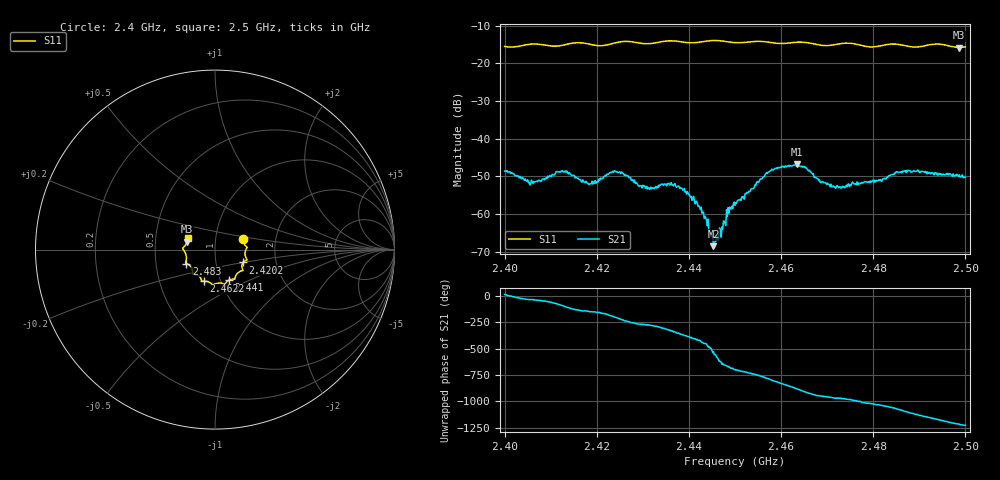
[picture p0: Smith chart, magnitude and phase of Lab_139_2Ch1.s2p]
# Hz S RI R 50
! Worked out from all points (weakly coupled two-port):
!   601 points, 2.4 GHz to 2.5 GHz, reference 50 ohm
!   highest |S21| = -46.88 dB at 2.4635 GHz (marker M1); lowest = -68.6 dB at 2.4453 GHz (marker M2)
!   lowest |S11| = -15.8 dB at 2.4987 GHz (marker M3), VSWR 1.39, Z = 36.4 + j3.31 ohm
!   |S11| at or under -10 dB: start of sweep to end of sweep
!   S12 and S22 are empty: the file has one direction only
!   S11 on the Smith chart (normalised r, x): 2.4 GHz: 1.36, +0.17; 2.4202 GHz: 1.35, -0.20; 2.441 GHz: 1.09, -0.39; 2.4622 GHz: 0.83, -0.30; 2.483 GHz: 0.72, -0.12; 2.5 GHz: 0.73, +0.09
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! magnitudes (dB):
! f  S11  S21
! 2.4 GHz  -15.5  -48.6
! 2.4057 GHz  -14.9  -51.8
! 2.4127 GHz  -15.2  -48.8
! 2.4167 GHz  -14.6  -51.5
! 2.4202 GHz  -15.3  -51.7
! 2.4238 GHz  -14.6  -48.5
! 2.4293 GHz  -14.6  -52.6
! 2.4333 GHz  -14.4  -53.0
! 2.4373 GHz  -14.1  -52.9
! 2.441 GHz  -14.6  -55.3
! 2.4432 GHz  -14.2  -59.7
! 2.4453 GHz  -13.9  -68.6
! 2.45 GHz  -14.5  -57.7
! 2.4573 GHz  -14.4  -48.9
! 2.4622 GHz  -14.5  -47.2
! 2.4635 GHz  -14.4  -46.9
! 2.4667 GHz  -14.7  -49.2
! 2.4715 GHz  -15.1  -52.9
! 2.483 GHz  -15.0  -50.2
! 2.4833 GHz  -15.0  -49.9
! 2.4987 GHz  -15.8  -49.6
! 2.5 GHz  -15.6  -50.2
